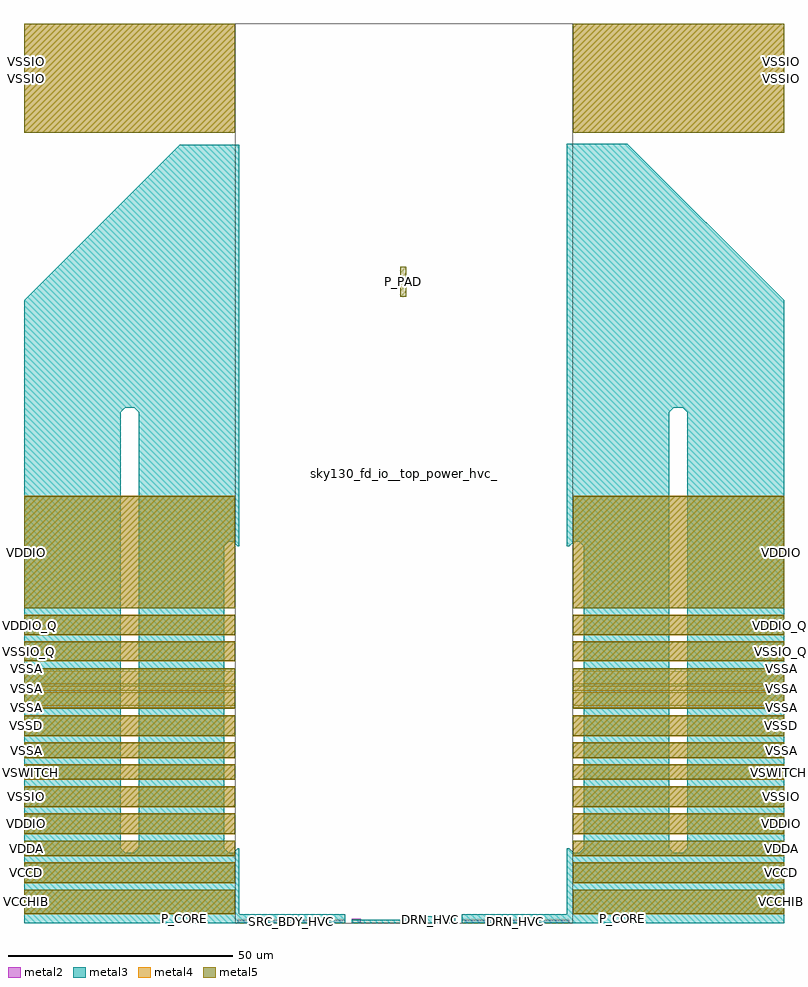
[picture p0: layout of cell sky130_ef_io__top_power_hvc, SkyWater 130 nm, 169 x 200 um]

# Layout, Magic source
magic
tech sky130A
magscale 1 2
<< metal2 >>
rect 9499 -407 14279 -259
rect 14579 -407 14979 -211
rect 19478 -407 24258 -259
<< metal3 >>
tri 0 27305 6919 34224 se
rect 6919 27305 9579 34224
rect 0 22525 9579 27305
rect 0 2730 4307 22525
tri 4307 22327 4505 22525 nw
tri 4897 22327 5095 22525 ne
rect 5095 22327 9579 22525
tri 5095 22325 5097 22327 ne
rect 5097 21630 9579 22327
rect 5096 16548 9579 21630
tri 5093 2927 5096 2930 se
rect 5096 2927 8904 16548
tri 8904 16348 9104 16548 nw
tri 9299 16348 9499 16548 ne
rect 9499 16348 9579 16548
rect 24146 27295 26838 34257
tri 26838 27295 33800 34257 sw
rect 24146 22525 33800 27295
rect 24146 21725 28705 22525
tri 28705 22325 28905 22525 nw
tri 29296 22325 29496 22525 ne
rect 24146 16548 28704 21725
rect 24146 16348 24258 16548
tri 24258 16348 24458 16548 nw
tri 24696 16348 24896 16548 ne
tri 4307 2730 4504 2927 sw
tri 4896 2730 5093 2927 se
rect 5093 2730 8904 2927
tri 8904 2730 9104 2930 sw
tri 9299 2730 9499 2930 se
rect 9499 2730 9579 2930
rect 0 -16 9579 2730
rect 24146 2730 24258 2930
tri 24258 2730 24458 2930 sw
tri 24696 2730 24896 2930 se
rect 24896 2730 28704 16548
tri 28704 2730 28904 2930 sw
tri 29296 2730 29496 2930 se
rect 29496 2730 33800 22525
rect 24146 -16 33800 2730
rect 0 -407 14279 -16
rect 14579 -407 16779 -259
rect 16978 -407 19178 -89
rect 19478 -407 33800 -16
<< metal4 >>
rect 0 34750 254 39593
rect 33546 34750 33800 39593
rect 0 13600 254 18593
rect 33546 13600 33800 18593
rect 0 12410 254 13300
rect 33546 12410 33800 13300
rect 0 11240 254 12130
rect 33546 11240 33800 12130
rect 0 10874 254 10940
rect 33546 10874 33800 10940
rect 0 10218 100 10814
rect 33546 10218 33646 10814
rect 0 9922 254 10158
rect 33546 9922 33800 10158
rect 0 9266 116 9862
rect 33546 9266 33662 9862
rect 0 9140 254 9206
rect 33546 9140 33800 9206
rect 0 7910 254 8840
rect 33546 7910 33800 8840
rect 0 6940 254 7630
rect 33546 6940 33800 7630
rect 0 5970 254 6660
rect 33546 5970 33800 6660
rect 0 4760 254 5690
rect 33546 4760 33800 5690
rect 0 3550 254 4480
rect 33546 3550 33800 4480
rect 0 2580 254 3270
rect 33546 2580 33800 3270
rect 0 1370 254 2300
rect 33546 1370 33800 2300
rect 0 0 254 1090
rect 33546 0 33800 1090
<< metal5 >>
rect 0 34750 254 39593
rect 33546 34750 33800 39593
rect 16729 27458 16994 28780
rect 0 13600 254 18590
rect 33546 13600 33800 18590
rect 0 12430 254 13280
rect 33546 12430 33800 13280
rect 0 11260 254 12110
rect 33546 11260 33800 12110
rect 0 9140 254 10940
rect 33546 9140 33800 10940
rect 0 7930 254 8820
rect 33546 7930 33800 8820
rect 0 6960 254 7610
rect 33546 6960 33800 7610
rect 0 5990 254 6640
rect 33546 5990 33800 6640
rect 0 4780 254 5670
rect 33546 4780 33800 5670
rect 0 3570 254 4460
rect 33546 3570 33800 4460
rect 0 2600 254 3250
rect 33546 2600 33800 3250
rect 0 1390 254 2280
rect 33546 1390 33800 2280
rect 0 20 254 1070
rect 33546 20 33800 1070
use sky130_ef_io__com_bus_slice_1um  sky130_ef_io__com_bus_slice_1um_2
transform 1 0 0 0 1 0
box 0 0 200 39593
use sky130_ef_io__com_bus_slice_1um  sky130_ef_io__com_bus_slice_1um_3
transform 1 0 200 0 1 0
box 0 0 200 39593
use sky130_ef_io__com_bus_slice_5um  sky130_ef_io__com_bus_slice_5um_1
transform 1 0 400 0 1 0
box 0 0 1000 39593
use sky130_ef_io__com_bus_slice_20um  sky130_ef_io__com_bus_slice_20um_2
transform 1 0 1400 0 1 0
box 0 0 4000 39593
use sky130_ef_io__com_bus_slice_20um  sky130_ef_io__com_bus_slice_20um_3
transform 1 0 5400 0 1 0
box 0 0 4000 39593
use sky130_fd_io__top_power_hvc_wpadv2  sky130_fd_io__top_power_hvc_wpadv2_1 $PDKPATH/libs.ref/sky130_fd_io/mag
transform 1 0 9400 0 1 -407
box 0 0 15000 40000
use sky130_ef_io__com_bus_slice_20um  sky130_ef_io__com_bus_slice_20um_0
transform 1 0 24400 0 1 0
box 0 0 4000 39593
use sky130_ef_io__com_bus_slice_20um  sky130_ef_io__com_bus_slice_20um_1
transform 1 0 28400 0 1 0
box 0 0 4000 39593
use sky130_ef_io__com_bus_slice_5um  sky130_ef_io__com_bus_slice_5um_0
transform 1 0 32400 0 1 0
box 0 0 1000 39593
use sky130_ef_io__com_bus_slice_1um  sky130_ef_io__com_bus_slice_1um_0
transform 1 0 33400 0 1 0
box 0 0 200 39593
use sky130_ef_io__com_bus_slice_1um  sky130_ef_io__com_bus_slice_1um_1
transform 1 0 33600 0 1 0
box 0 0 200 39593
<< labels >>
flabel metal2 s 19478 -407 24258 -259 2 FreeSans 2000 90 0 0 DRN_HVC
port 2 nsew power bidirectional
flabel metal2 s 9499 -407 14279 -259 2 FreeSans 2000 90 0 0 SRC_BDY_HVC
port 5 nsew ground bidirectional
flabel metal3 s 16978 -407 19178 -89 0 FreeSans 2000 0 0 0 DRN_HVC
port 2 nsew power bidirectional
flabel metal3 s 14579 -407 16779 -259 2 FreeSans 2000 90 0 0 SRC_BDY_HVC
port 5 nsew ground bidirectional
flabel metal3 s 0 -407 14279 -16 0 FreeSans 2000 0 0 0 P_CORE
port 3 nsew power bidirectional
flabel metal3 s 19478 -407 33757 -16 0 FreeSans 2000 0 0 0 P_CORE
port 3 nsew power bidirectional
flabel metal5 s 16729 27458 16994 28780 0 FreeSans 2000 0 0 0 P_PAD
port 4 nsew power bidirectional
flabel metal4 s 33673 37925 33673 37925 3 FreeSans 520 180 0 0 VSSIO
port 14 nsew ground bidirectional
flabel metal4 s 33673 37914 33673 37914 3 FreeSans 520 180 0 0 VSSIO
port 14 nsew ground bidirectional
flabel metal5 s 33546 9140 33800 10940 3 FreeSans 520 180 0 0 VSSA
port 7 nsew ground bidirectional
flabel metal5 s 33607 2600 33800 3250 3 FreeSans 520 180 0 0 VDDA
port 8 nsew power bidirectional
flabel metal5 s 33546 7930 33800 8820 3 FreeSans 520 180 0 0 VSSD
port 15 nsew ground bidirectional
flabel metal5 s 33546 11260 33800 12110 3 FreeSans 520 180 0 0 VSSIO_Q
port 16 nsew ground bidirectional
flabel metal5 s 33546 4780 33800 5670 3 FreeSans 520 180 0 0 VSSIO
port 14 nsew ground bidirectional
flabel metal5 s 33546 5990 33800 6640 3 FreeSans 520 180 0 0 VSWITCH
port 9 nsew power bidirectional
flabel metal5 s 33546 6961 33800 7610 3 FreeSans 520 180 0 0 VSSA
port 7 nsew ground bidirectional
flabel metal5 s 33546 1390 33800 2280 3 FreeSans 520 180 0 0 VCCD
port 13 nsew power bidirectional
flabel metal5 s 33546 12430 33800 13280 3 FreeSans 520 180 0 0 VDDIO_Q
port 10 nsew power bidirectional
flabel metal5 s 33546 13600 33800 18590 3 FreeSans 520 180 0 0 VDDIO
port 12 nsew power bidirectional
flabel metal5 s 33546 20 33800 1070 3 FreeSans 520 180 0 0 VCCHIB
port 11 nsew power bidirectional
flabel metal5 s 33546 3570 33800 4460 3 FreeSans 520 180 0 0 VDDIO
port 12 nsew power bidirectional
flabel metal4 s 33546 7910 33800 8840 3 FreeSans 520 180 0 0 VSSD
port 15 nsew ground bidirectional
flabel metal4 s 33607 2580 33800 3270 3 FreeSans 520 180 0 0 VDDA
port 8 nsew power bidirectional
flabel metal4 s 33546 11240 33800 12130 3 FreeSans 520 180 0 0 VSSIO_Q
port 16 nsew ground bidirectional
flabel metal4 s 33546 4760 33800 5690 3 FreeSans 520 180 0 0 VSSIO
port 14 nsew ground bidirectional
flabel metal4 s 33546 5970 33800 6660 3 FreeSans 520 180 0 0 VSWITCH
port 9 nsew power bidirectional
flabel metal4 s 33546 9922 33800 10158 3 FreeSans 520 180 0 0 VSSA
port 7 nsew ground bidirectional
flabel metal4 s 33546 10874 33800 10940 3 FreeSans 520 180 0 0 VSSA
port 7 nsew ground bidirectional
flabel metal4 s 33546 0 33800 1090 3 FreeSans 520 180 0 0 VCCHIB
port 11 nsew power bidirectional
flabel metal4 s 33546 3550 33800 4480 3 FreeSans 520 180 0 0 VDDIO
port 12 nsew power bidirectional
flabel metal4 s 33546 9140 33800 9206 3 FreeSans 520 180 0 0 VSSA
port 7 nsew ground bidirectional
flabel metal4 s 33546 6940 33800 7630 3 FreeSans 520 180 0 0 VSSA
port 7 nsew ground bidirectional
flabel metal4 s 33546 12410 33800 13300 3 FreeSans 520 180 0 0 VDDIO_Q
port 10 nsew power bidirectional
flabel metal4 s 33546 1370 33800 2300 3 FreeSans 520 180 0 0 VCCD
port 13 nsew power bidirectional
flabel metal4 s 33546 9266 33800 9862 3 FreeSans 520 180 0 0 AMUXBUS_B
port 1 nsew signal bidirectional
flabel metal4 s 33546 34750 33800 39593 3 FreeSans 520 180 0 0 VSSIO
port 14 nsew ground bidirectional
flabel metal4 s 33546 10218 33800 10814 3 FreeSans 520 180 0 0 AMUXBUS_A
port 0 nsew signal bidirectional
flabel metal4 s 33546 13600 33800 18593 3 FreeSans 520 180 0 0 VDDIO
port 12 nsew power bidirectional
flabel metal4 s 127 37925 127 37925 3 FreeSans 520 0 0 0 VSSIO
port 14 nsew ground bidirectional
flabel metal4 s 127 37914 127 37914 3 FreeSans 520 0 0 0 VSSIO
port 14 nsew ground bidirectional
flabel metal5 s 0 13600 254 18590 3 FreeSans 520 0 0 0 VDDIO
port 12 nsew power bidirectional
flabel metal5 s 0 7930 254 8820 3 FreeSans 520 0 0 0 VSSD
port 15 nsew ground bidirectional
flabel metal5 s 0 11260 254 12110 3 FreeSans 520 0 0 0 VSSIO_Q
port 16 nsew ground bidirectional
flabel metal5 s 0 5990 254 6640 3 FreeSans 520 0 0 0 VSWITCH
port 9 nsew power bidirectional
flabel metal5 s 0 4780 254 5670 3 FreeSans 520 0 0 0 VSSIO
port 14 nsew ground bidirectional
flabel metal5 s 0 2600 193 3250 3 FreeSans 520 0 0 0 VDDA
port 8 nsew power bidirectional
flabel metal5 s 0 3570 254 4460 3 FreeSans 520 0 0 0 VDDIO
port 12 nsew power bidirectional
flabel metal5 s 0 1390 254 2280 3 FreeSans 520 0 0 0 VCCD
port 13 nsew power bidirectional
flabel metal5 s 0 12430 254 13280 3 FreeSans 520 0 0 0 VDDIO_Q
port 10 nsew power bidirectional
flabel metal5 s 0 9140 254 10940 3 FreeSans 520 0 0 0 VSSA
port 7 nsew ground bidirectional
flabel metal5 s 0 6961 254 7610 3 FreeSans 520 0 0 0 VSSA
port 7 nsew ground bidirectional
flabel metal5 s 0 20 254 1070 3 FreeSans 520 0 0 0 VCCHIB
port 11 nsew power bidirectional
flabel metal4 s 0 34750 254 39593 3 FreeSans 520 0 0 0 VSSIO
port 14 nsew ground bidirectional
flabel metal4 s 0 3550 254 4480 3 FreeSans 520 0 0 0 VDDIO
port 12 nsew power bidirectional
flabel metal4 s 0 12410 254 13300 3 FreeSans 520 0 0 0 VDDIO_Q
port 10 nsew power bidirectional
flabel metal4 s 0 13600 254 18593 3 FreeSans 520 0 0 0 VDDIO
port 12 nsew power bidirectional
flabel metal4 s 0 1370 254 2300 3 FreeSans 520 0 0 0 VCCD
port 13 nsew power bidirectional
flabel metal4 s 0 9140 254 9206 3 FreeSans 520 0 0 0 VSSA
port 7 nsew ground bidirectional
flabel metal4 s 0 5970 254 6660 3 FreeSans 520 0 0 0 VSWITCH
port 9 nsew power bidirectional
flabel metal4 s 0 0 254 1090 3 FreeSans 520 0 0 0 VCCHIB
port 11 nsew power bidirectional
flabel metal4 s 0 9922 254 10158 3 FreeSans 520 0 0 0 VSSA
port 7 nsew ground bidirectional
flabel metal4 s 0 11240 254 12130 3 FreeSans 520 0 0 0 VSSIO_Q
port 16 nsew ground bidirectional
flabel metal4 s 0 4760 254 5690 3 FreeSans 520 0 0 0 VSSIO
port 14 nsew ground bidirectional
flabel metal4 s 0 2580 193 3270 3 FreeSans 520 0 0 0 VDDA
port 8 nsew power bidirectional
flabel metal4 s 0 10218 254 10814 3 FreeSans 520 0 0 0 AMUXBUS_A
port 0 nsew signal bidirectional
flabel metal4 s 0 10874 254 10940 3 FreeSans 520 0 0 0 VSSA
port 7 nsew ground bidirectional
flabel metal4 s 0 6940 254 7630 3 FreeSans 520 0 0 0 VSSA
port 7 nsew ground bidirectional
flabel metal4 s 0 7910 254 8840 3 FreeSans 520 0 0 0 VSSD
port 15 nsew ground bidirectional
flabel metal4 s 0 9266 254 9862 3 FreeSans 520 0 0 0 AMUXBUS_B
port 1 nsew signal bidirectional
<< properties >>
string LEFclass PAD POWER
string FIXED_BBOX 0 0 33800 39593
<< end >>

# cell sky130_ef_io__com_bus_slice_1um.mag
magic
tech sky130A
magscale 1 2
<< metal4 >>
rect 0 34750 200 39593
rect 0 13600 200 18593
rect 0 12410 200 13300
rect 0 11240 200 12130
rect 0 10874 200 10940
rect 0 10218 200 10814
rect 0 9922 200 10158
rect 0 9266 200 9862
rect 0 9140 200 9206
rect 0 7910 200 8840
rect 0 6940 200 7630
rect 0 5970 200 6660
rect 0 4760 200 5690
rect 0 3550 200 4480
rect 0 2580 200 3270
rect 0 1370 200 2300
rect 0 0 200 1090
<< metal5 >>
rect 0 34750 200 39593
rect 0 13600 200 18590
rect 0 12430 200 13280
rect 0 11260 200 12110
rect 0 9140 200 10940
rect 0 7930 200 8820
rect 0 6960 200 7610
rect 0 5990 200 6640
rect 0 4780 200 5670
rect 0 3570 200 4460
rect 0 2600 200 3250
rect 0 1390 200 2280
rect 0 20 200 1070
<< labels >>
flabel metal5 s 0 13600 200 18590 0 FreeSans 640 0 0 0 VDDIO
port 7 nsew power bidirectional
flabel metal4 s 0 13600 200 18593 0 FreeSans 640 0 0 0 VDDIO
port 7 nsew power bidirectional
flabel metal5 s 0 12430 200 13280 0 FreeSans 640 0 0 0 VDDIO_Q
port 5 nsew power bidirectional
flabel metal4 s 0 12410 200 13300 0 FreeSans 640 0 0 0 VDDIO_Q
port 5 nsew power bidirectional
flabel metal5 s 0 11260 200 12110 0 FreeSans 640 0 0 0 VSSIO_Q
port 11 nsew ground bidirectional
flabel metal4 s 0 11240 200 12130 0 FreeSans 640 0 0 0 VSSIO_Q
port 11 nsew ground bidirectional
flabel metal5 s 0 9140 200 10940 0 FreeSans 640 0 0 0 VSSA
port 2 nsew ground bidirectional
flabel metal4 s 0 10874 200 10940 0 FreeSans 640 0 0 0 VSSA
port 2 nsew ground bidirectional
flabel metal4 s 0 10218 200 10814 0 FreeSans 640 0 0 0 AMUXBUS_A
port 0 nsew signal bidirectional
flabel metal4 s 0 9266 200 9862 0 FreeSans 640 0 0 0 AMUXBUS_B
port 1 nsew signal bidirectional
flabel metal4 s 0 9140 200 9206 0 FreeSans 640 0 0 0 VSSA
port 2 nsew ground bidirectional
flabel metal5 s 0 7930 200 8820 0 FreeSans 640 0 0 0 VSSD
port 10 nsew ground bidirectional
flabel metal4 s 0 7910 200 8840 0 FreeSans 640 0 0 0 VSSD
port 10 nsew ground bidirectional
flabel metal5 s 0 6960 200 7610 0 FreeSans 640 0 0 0 VSSA
port 2 nsew ground bidirectional
flabel metal4 s 0 6940 200 7630 0 FreeSans 640 0 0 0 VSSA
port 2 nsew ground bidirectional
flabel metal5 s 0 5990 200 6640 0 FreeSans 640 0 0 0 VSWITCH
port 4 nsew power bidirectional
flabel metal4 s 0 5970 200 6660 0 FreeSans 640 0 0 0 VSWITCH
port 4 nsew power bidirectional
flabel metal5 s 0 4780 200 5670 0 FreeSans 640 0 0 0 VSSIO
port 9 nsew ground bidirectional
flabel metal4 s 0 4760 200 5690 0 FreeSans 640 0 0 0 VSSIO
port 9 nsew ground bidirectional
flabel metal5 s 0 3570 200 4460 0 FreeSans 640 0 0 0 VDDIO
port 7 nsew power bidirectional
flabel metal4 s 0 3550 200 4480 0 FreeSans 640 0 0 0 VDDIO
port 7 nsew power bidirectional
flabel metal5 s 0 2600 200 3250 0 FreeSans 640 0 0 0 VDDA
port 3 nsew power bidirectional
flabel metal4 s 0 2580 200 3270 0 FreeSans 640 0 0 0 VDDA
port 3 nsew power bidirectional
flabel metal5 s 0 1390 200 2280 0 FreeSans 640 0 0 0 VCCD
port 8 nsew power bidirectional
flabel metal4 s 0 1370 200 2300 0 FreeSans 640 0 0 0 VCCD
port 8 nsew power bidirectional
flabel metal5 s 0 20 200 1070 0 FreeSans 640 0 0 0 VCCHIB
port 6 nsew power bidirectional
flabel metal4 s 0 0 200 1090 0 FreeSans 640 0 0 0 VCCHIB
port 6 nsew power bidirectional
flabel metal5 s 0 34750 200 39593 0 FreeSans 640 0 0 0 VSSIO
port 9 nsew ground bidirectional
<< properties >>
string LEFclass PAD SPACER
string FIXED_BBOX 0 0 200 39593
<< end >>

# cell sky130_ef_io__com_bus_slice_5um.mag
magic
tech sky130A
magscale 1 2
<< metal4 >>
rect 0 34750 1000 39593
rect 0 13600 1000 18593
rect 0 12410 1000 13300
rect 0 11240 1000 12130
rect 0 10874 1000 10940
rect 0 10218 1000 10814
rect 0 9922 1000 10158
rect 0 9266 1000 9862
rect 0 9140 1000 9206
rect 0 7910 1000 8840
rect 0 6940 1000 7630
rect 0 5970 1000 6660
rect 0 4760 1000 5690
rect 0 3550 1000 4480
rect 0 2580 1000 3270
rect 0 1370 1000 2300
rect 0 0 1000 1090
<< metal5 >>
rect 0 34750 1000 39593
rect 0 13600 1000 18590
rect 0 12430 1000 13280
rect 0 11260 1000 12110
rect 0 9140 1000 10940
rect 0 7930 1000 8820
rect 0 6960 1000 7610
rect 0 5990 1000 6640
rect 0 4780 1000 5670
rect 0 3570 1000 4460
rect 0 2600 1000 3250
rect 0 1390 1000 2280
rect 0 20 1000 1070
<< labels >>
flabel metal5 s 0 13600 200 18590 0 FreeSans 640 0 0 0 VDDIO
port 7 nsew power bidirectional
flabel metal4 s 0 13600 200 18593 0 FreeSans 640 0 0 0 VDDIO
port 7 nsew power bidirectional
flabel metal5 s 0 12430 200 13280 0 FreeSans 640 0 0 0 VDDIO_Q
port 5 nsew power bidirectional
flabel metal4 s 0 12410 200 13300 0 FreeSans 640 0 0 0 VDDIO_Q
port 5 nsew power bidirectional
flabel metal5 s 0 11260 200 12110 0 FreeSans 640 0 0 0 VSSIO_Q
port 11 nsew ground bidirectional
flabel metal4 s 0 11240 200 12130 0 FreeSans 640 0 0 0 VSSIO_Q
port 11 nsew ground bidirectional
flabel metal5 s 0 9140 200 10940 0 FreeSans 640 0 0 0 VSSA
port 2 nsew ground bidirectional
flabel metal4 s 0 10874 200 10940 0 FreeSans 640 0 0 0 VSSA
port 2 nsew ground bidirectional
flabel metal4 s 0 10218 200 10814 0 FreeSans 640 0 0 0 AMUXBUS_A
port 0 nsew signal bidirectional
flabel metal4 s 0 9266 200 9862 0 FreeSans 640 0 0 0 AMUXBUS_B
port 1 nsew signal bidirectional
flabel metal4 s 0 9140 200 9206 0 FreeSans 640 0 0 0 VSSA
port 2 nsew ground bidirectional
flabel metal5 s 0 7930 200 8820 0 FreeSans 640 0 0 0 VSSD
port 10 nsew ground bidirectional
flabel metal4 s 0 7910 200 8840 0 FreeSans 640 0 0 0 VSSD
port 10 nsew ground bidirectional
flabel metal5 s 0 6960 200 7610 0 FreeSans 640 0 0 0 VSSA
port 2 nsew ground bidirectional
flabel metal4 s 0 6940 200 7630 0 FreeSans 640 0 0 0 VSSA
port 2 nsew ground bidirectional
flabel metal5 s 0 5990 200 6640 0 FreeSans 640 0 0 0 VSWITCH
port 4 nsew power bidirectional
flabel metal4 s 0 5970 200 6660 0 FreeSans 640 0 0 0 VSWITCH
port 4 nsew power bidirectional
flabel metal5 s 0 4780 200 5670 0 FreeSans 640 0 0 0 VSSIO
port 9 nsew ground bidirectional
flabel metal4 s 0 4760 200 5690 0 FreeSans 640 0 0 0 VSSIO
port 9 nsew ground bidirectional
flabel metal5 s 0 3570 200 4460 0 FreeSans 640 0 0 0 VDDIO
port 7 nsew power bidirectional
flabel metal4 s 0 3550 200 4480 0 FreeSans 640 0 0 0 VDDIO
port 7 nsew power bidirectional
flabel metal5 s 0 2600 200 3250 0 FreeSans 640 0 0 0 VDDA
port 3 nsew power bidirectional
flabel metal4 s 0 2580 200 3270 0 FreeSans 640 0 0 0 VDDA
port 3 nsew power bidirectional
flabel metal5 s 0 1390 200 2280 0 FreeSans 640 0 0 0 VCCD
port 8 nsew power bidirectional
flabel metal4 s 0 1370 200 2300 0 FreeSans 640 0 0 0 VCCD
port 8 nsew power bidirectional
flabel metal5 s 0 20 200 1070 0 FreeSans 640 0 0 0 VCCHIB
port 6 nsew power bidirectional
flabel metal4 s 0 0 200 1090 0 FreeSans 640 0 0 0 VCCHIB
port 6 nsew power bidirectional
flabel metal5 s 0 34750 200 39593 0 FreeSans 640 0 0 0 VSSIO
port 9 nsew ground bidirectional
flabel metal5 s 800 13600 1000 18590 0 FreeSans 640 0 0 0 VDDIO
port 7 nsew power bidirectional
flabel metal4 s 800 13600 1000 18593 0 FreeSans 640 0 0 0 VDDIO
port 7 nsew power bidirectional
flabel metal5 s 800 12430 1000 13280 0 FreeSans 640 0 0 0 VDDIO_Q
port 5 nsew power bidirectional
flabel metal4 s 800 12410 1000 13300 0 FreeSans 640 0 0 0 VDDIO_Q
port 5 nsew power bidirectional
flabel metal5 s 800 11260 1000 12110 0 FreeSans 640 0 0 0 VSSIO_Q
port 11 nsew ground bidirectional
flabel metal4 s 800 11240 1000 12130 0 FreeSans 640 0 0 0 VSSIO_Q
port 11 nsew ground bidirectional
flabel metal5 s 800 9140 1000 10940 0 FreeSans 640 0 0 0 VSSA
port 2 nsew ground bidirectional
flabel metal4 s 800 10874 1000 10940 0 FreeSans 640 0 0 0 VSSA
port 2 nsew ground bidirectional
flabel metal4 s 800 10218 1000 10814 0 FreeSans 640 0 0 0 AMUXBUS_A
port 0 nsew signal bidirectional
flabel metal4 s 800 9266 1000 9862 0 FreeSans 640 0 0 0 AMUXBUS_B
port 1 nsew signal bidirectional
flabel metal4 s 800 9140 1000 9206 0 FreeSans 640 0 0 0 VSSA
port 2 nsew ground bidirectional
flabel metal5 s 800 7930 1000 8820 0 FreeSans 640 0 0 0 VSSD
port 10 nsew ground bidirectional
flabel metal4 s 800 7910 1000 8840 0 FreeSans 640 0 0 0 VSSD
port 10 nsew ground bidirectional
flabel metal5 s 800 6960 1000 7610 0 FreeSans 640 0 0 0 VSSA
port 2 nsew ground bidirectional
flabel metal4 s 800 6940 1000 7630 0 FreeSans 640 0 0 0 VSSA
port 2 nsew ground bidirectional
flabel metal5 s 800 5990 1000 6640 0 FreeSans 640 0 0 0 VSWITCH
port 4 nsew power bidirectional
flabel metal4 s 800 5970 1000 6660 0 FreeSans 640 0 0 0 VSWITCH
port 4 nsew power bidirectional
flabel metal5 s 800 4780 1000 5670 0 FreeSans 640 0 0 0 VSSIO
port 9 nsew ground bidirectional
flabel metal4 s 800 4760 1000 5690 0 FreeSans 640 0 0 0 VSSIO
port 9 nsew ground bidirectional
flabel metal5 s 800 3570 1000 4460 0 FreeSans 640 0 0 0 VDDIO
port 7 nsew power bidirectional
flabel metal4 s 800 3550 1000 4480 0 FreeSans 640 0 0 0 VDDIO
port 7 nsew power bidirectional
flabel metal5 s 800 2600 1000 3250 0 FreeSans 640 0 0 0 VDDA
port 3 nsew power bidirectional
flabel metal4 s 800 2580 1000 3270 0 FreeSans 640 0 0 0 VDDA
port 3 nsew power bidirectional
flabel metal5 s 800 1390 1000 2280 0 FreeSans 640 0 0 0 VCCD
port 8 nsew power bidirectional
flabel metal4 s 800 1370 1000 2300 0 FreeSans 640 0 0 0 VCCD
port 8 nsew power bidirectional
flabel metal5 s 800 20 1000 1070 0 FreeSans 640 0 0 0 VCCHIB
port 6 nsew power bidirectional
flabel metal4 s 800 0 1000 1090 0 FreeSans 640 0 0 0 VCCHIB
port 6 nsew power bidirectional
flabel metal5 s 800 34750 1000 39593 0 FreeSans 640 0 0 0 VSSIO
port 9 nsew ground bidirectional
<< properties >>
string LEFclass PAD SPACER
string FIXED_BBOX 0 0 1000 39593
<< end >>

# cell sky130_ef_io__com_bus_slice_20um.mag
magic
tech sky130A
magscale 1 2
<< metal4 >>
rect 0 34750 4000 39593
rect 0 13600 4000 18593
rect 0 12410 4000 13300
rect 0 11240 4000 12130
rect 0 10874 4000 10940
rect 0 10218 4000 10814
rect 0 9922 4000 10158
rect 0 9266 4000 9862
rect 0 9140 4000 9206
rect 0 7910 4000 8840
rect 0 6940 4000 7630
rect 0 5970 4000 6660
rect 0 4760 4000 5690
rect 0 3550 4000 4480
rect 0 2580 4000 3270
rect 0 1370 4000 2300
rect 0 0 4000 1090
<< metal5 >>
rect 0 34750 4000 39593
rect 0 13600 4000 18590
rect 0 12430 4000 13280
rect 0 11260 4000 12110
rect 0 9140 4000 10940
rect 0 7930 4000 8820
rect 0 6960 4000 7610
rect 0 5990 4000 6640
rect 0 4780 4000 5670
rect 0 3570 4000 4460
rect 0 2600 4000 3250
rect 0 1390 4000 2280
rect 0 20 4000 1070
<< labels >>
flabel metal5 s 0 13600 200 18590 0 FreeSans 640 0 0 0 VDDIO
port 7 nsew power bidirectional
flabel metal4 s 0 13600 200 18593 0 FreeSans 640 0 0 0 VDDIO
port 7 nsew power bidirectional
flabel metal5 s 0 12430 200 13280 0 FreeSans 640 0 0 0 VDDIO_Q
port 5 nsew power bidirectional
flabel metal4 s 0 12410 200 13300 0 FreeSans 640 0 0 0 VDDIO_Q
port 5 nsew power bidirectional
flabel metal5 s 0 11260 200 12110 0 FreeSans 640 0 0 0 VSSIO_Q
port 11 nsew ground bidirectional
flabel metal4 s 0 11240 200 12130 0 FreeSans 640 0 0 0 VSSIO_Q
port 11 nsew ground bidirectional
flabel metal5 s 0 9140 200 10940 0 FreeSans 640 0 0 0 VSSA
port 2 nsew ground bidirectional
flabel metal4 s 0 10874 200 10940 0 FreeSans 640 0 0 0 VSSA
port 2 nsew ground bidirectional
flabel metal4 s 0 10218 200 10814 0 FreeSans 640 0 0 0 AMUXBUS_A
port 0 nsew signal bidirectional
flabel metal4 s 0 9266 200 9862 0 FreeSans 640 0 0 0 AMUXBUS_B
port 1 nsew signal bidirectional
flabel metal4 s 0 9140 200 9206 0 FreeSans 640 0 0 0 VSSA
port 2 nsew ground bidirectional
flabel metal5 s 0 7930 200 8820 0 FreeSans 640 0 0 0 VSSD
port 10 nsew ground bidirectional
flabel metal4 s 0 7910 200 8840 0 FreeSans 640 0 0 0 VSSD
port 10 nsew ground bidirectional
flabel metal5 s 0 6960 200 7610 0 FreeSans 640 0 0 0 VSSA
port 2 nsew ground bidirectional
flabel metal4 s 0 6940 200 7630 0 FreeSans 640 0 0 0 VSSA
port 2 nsew ground bidirectional
flabel metal5 s 0 5990 200 6640 0 FreeSans 640 0 0 0 VSWITCH
port 4 nsew power bidirectional
flabel metal4 s 0 5970 200 6660 0 FreeSans 640 0 0 0 VSWITCH
port 4 nsew power bidirectional
flabel metal5 s 0 4780 200 5670 0 FreeSans 640 0 0 0 VSSIO
port 9 nsew ground bidirectional
flabel metal4 s 0 4760 200 5690 0 FreeSans 640 0 0 0 VSSIO
port 9 nsew ground bidirectional
flabel metal5 s 0 3570 200 4460 0 FreeSans 640 0 0 0 VDDIO
port 7 nsew power bidirectional
flabel metal4 s 0 3550 200 4480 0 FreeSans 640 0 0 0 VDDIO
port 7 nsew power bidirectional
flabel metal5 s 0 2600 200 3250 0 FreeSans 640 0 0 0 VDDA
port 3 nsew power bidirectional
flabel metal4 s 0 2580 200 3270 0 FreeSans 640 0 0 0 VDDA
port 3 nsew power bidirectional
flabel metal5 s 0 1390 200 2280 0 FreeSans 640 0 0 0 VCCD
port 8 nsew power bidirectional
flabel metal4 s 0 1370 200 2300 0 FreeSans 640 0 0 0 VCCD
port 8 nsew power bidirectional
flabel metal5 s 0 20 200 1070 0 FreeSans 640 0 0 0 VCCHIB
port 6 nsew power bidirectional
flabel metal4 s 0 0 200 1090 0 FreeSans 640 0 0 0 VCCHIB
port 6 nsew power bidirectional
flabel metal5 s 0 34750 200 39593 0 FreeSans 640 0 0 0 VSSIO
port 9 nsew ground bidirectional
flabel metal5 s 3800 13600 4000 18590 0 FreeSans 640 0 0 0 VDDIO
port 7 nsew power bidirectional
flabel metal4 s 3800 13600 4000 18593 0 FreeSans 640 0 0 0 VDDIO
port 7 nsew power bidirectional
flabel metal5 s 3800 12430 4000 13280 0 FreeSans 640 0 0 0 VDDIO_Q
port 5 nsew power bidirectional
flabel metal4 s 3800 12410 4000 13300 0 FreeSans 640 0 0 0 VDDIO_Q
port 5 nsew power bidirectional
flabel metal5 s 3800 11260 4000 12110 0 FreeSans 640 0 0 0 VSSIO_Q
port 11 nsew ground bidirectional
flabel metal4 s 3800 11240 4000 12130 0 FreeSans 640 0 0 0 VSSIO_Q
port 11 nsew ground bidirectional
flabel metal5 s 3800 9140 4000 10940 0 FreeSans 640 0 0 0 VSSA
port 2 nsew ground bidirectional
flabel metal4 s 3800 10874 4000 10940 0 FreeSans 640 0 0 0 VSSA
port 2 nsew ground bidirectional
flabel metal4 s 3800 10218 4000 10814 0 FreeSans 640 0 0 0 AMUXBUS_A
port 0 nsew signal bidirectional
flabel metal4 s 3800 9266 4000 9862 0 FreeSans 640 0 0 0 AMUXBUS_B
port 1 nsew signal bidirectional
flabel metal4 s 3800 9140 4000 9206 0 FreeSans 640 0 0 0 VSSA
port 2 nsew ground bidirectional
flabel metal5 s 3800 7930 4000 8820 0 FreeSans 640 0 0 0 VSSD
port 10 nsew ground bidirectional
flabel metal4 s 3800 7910 4000 8840 0 FreeSans 640 0 0 0 VSSD
port 10 nsew ground bidirectional
flabel metal5 s 3800 6960 4000 7610 0 FreeSans 640 0 0 0 VSSA
port 2 nsew ground bidirectional
flabel metal4 s 3800 6940 4000 7630 0 FreeSans 640 0 0 0 VSSA
port 2 nsew ground bidirectional
flabel metal5 s 3800 5990 4000 6640 0 FreeSans 640 0 0 0 VSWITCH
port 4 nsew power bidirectional
flabel metal4 s 3800 5970 4000 6660 0 FreeSans 640 0 0 0 VSWITCH
port 4 nsew power bidirectional
flabel metal5 s 3800 4780 4000 5670 0 FreeSans 640 0 0 0 VSSIO
port 9 nsew ground bidirectional
flabel metal4 s 3800 4760 4000 5690 0 FreeSans 640 0 0 0 VSSIO
port 9 nsew ground bidirectional
flabel metal5 s 3800 3570 4000 4460 0 FreeSans 640 0 0 0 VDDIO
port 7 nsew power bidirectional
flabel metal4 s 3800 3550 4000 4480 0 FreeSans 640 0 0 0 VDDIO
port 7 nsew power bidirectional
flabel metal5 s 3800 2600 4000 3250 0 FreeSans 640 0 0 0 VDDA
port 3 nsew power bidirectional
flabel metal4 s 3800 2580 4000 3270 0 FreeSans 640 0 0 0 VDDA
port 3 nsew power bidirectional
flabel metal5 s 3800 1390 4000 2280 0 FreeSans 640 0 0 0 VCCD
port 8 nsew power bidirectional
flabel metal4 s 3800 1370 4000 2300 0 FreeSans 640 0 0 0 VCCD
port 8 nsew power bidirectional
flabel metal5 s 3800 20 4000 1070 0 FreeSans 640 0 0 0 VCCHIB
port 6 nsew power bidirectional
flabel metal4 s 3800 0 4000 1090 0 FreeSans 640 0 0 0 VCCHIB
port 6 nsew power bidirectional
flabel metal5 s 3800 34750 4000 39593 0 FreeSans 640 0 0 0 VSSIO
port 9 nsew ground bidirectional
<< properties >>
string LEFclass PAD SPACER
string FIXED_BBOX 0 0 4000 39593
<< end >>
